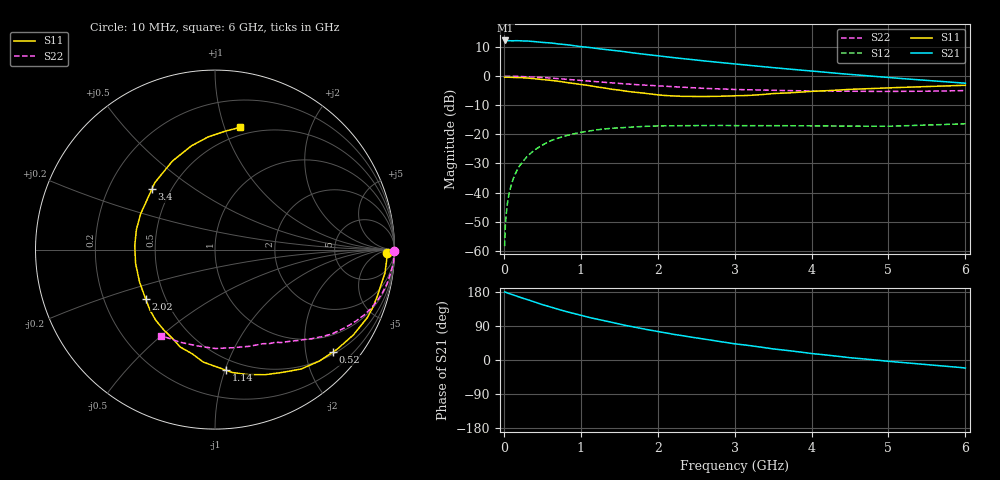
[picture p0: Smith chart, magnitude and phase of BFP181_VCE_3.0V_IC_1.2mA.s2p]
! Infineon Technologies  Discrete & RF Semiconductors
! BFP181
! VCE = 3.0 V,  IC =  1.2 mA
! Common Emitter S-Parameters:  Jan 2016
# GHz  S  MA  R  50
!  f  S11  S21  S12  S22
! GHz  MAG  ANG  MAG  ANG  MAG  ANG  MAG  ANG
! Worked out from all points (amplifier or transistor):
!   210 points, 10 MHz to 6 GHz, reference 50 ohm
!   highest |S21| = 12.2 dB at 20 MHz (marker M1)
!   |S21| within 3 dB of that: start of sweep to 1.284 GHz
!   unconditionally stable (mu >= 1): 2.897 GHz to end of sweep
!   at 185 MHz: K = 0.07, MSG = 21.9 dB, |S12| = -31.7 dB
!   at 1.52 GHz: K = 0.56, MSG = 13.1 dB, |S12| = -17.7 dB
!   at 6 GHz: K = 1.24, MAG = 4.0 dB, |S12| = -16.4 dB
!   S11 on the Smith chart (normalised r, x): 10 MHz: 39, -16; 520 MHz: 0.55, -2.58; 1.14 GHz: 0.41, -1.01; 2.02 GHz: 0.39, -0.27; 3.4 GHz: 0.39, +0.35; 6 GHz: 0.43, +1.13
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0.01  0.9572 -1.0  4.061 179.5  0.0012 88.4  0.9979 -0.3
0.02  0.9582 -1.8  4.095 179.2  0.0027 94.0  0.9902 -0.7
0.04  0.9579 -3.2  4.087 177.5  0.0056 91.6  0.9943 -1.4
0.065  0.9568 -5.1  4.066 175.6  0.0091 87.9  0.9968 -2.4
0.155  0.9446 -12.6  4.068 169.4  0.0218 81.2  0.9921 -5.8
0.3  0.9293 -24.1  4.011 160.0  0.0413 74.9  0.9775 -11.0
0.4  0.9057 -31.7  3.916 152.8  0.0538 69.3  0.9638 -14.4
0.52  0.8711 -40.9  3.781 145.0  0.0675 63.7  0.9428 -18.3
0.6  0.8508 -46.9  3.736 140.1  0.0767 60.3  0.9282 -20.8
0.8  0.7807 -61.2  3.5 128.4  0.0941 52.0  0.8848 -26.4
1.02  0.7136 -76.5  3.19 117.1  0.1093 43.9  0.8383 -31.7
1.14  0.6759 -84.6  3.065 111.0  0.1161 39.9  0.8148 -34.4
1.52  0.57 -110.9  2.676 93.7  0.13 29.9  0.7442 -41.3
1.8  0.5134 -130.1  2.401 82.5  0.1367 24.3  0.7033 -45.5
2.02  0.4738 -144.8  2.22 74.5  0.1396 20.4  0.676 -48.7
2.4  0.4491 -170.3  1.957 61.5  0.1421 14.6  0.6377 -54.3
2.8  0.4519 165.8  1.719 48.9  0.1423 10.4  0.6058 -59.8
3.1  0.4619 149.7  1.575 40.4  0.1409 8.1  0.5849 -64.3
3.4  0.4874 136.1  1.438 32.3  0.1411 6.2  0.5745 -68.8
4.1  0.5541 113.0  1.191 15.1  0.1391 3.3  0.5535 -81.5
5.1  0.6349 91.7  0.923 -5.1  0.1389 3.2  0.5453 -102.3
6  0.6957 78.3  0.755 -21.1  0.1516 4.1  0.565 -121.9
